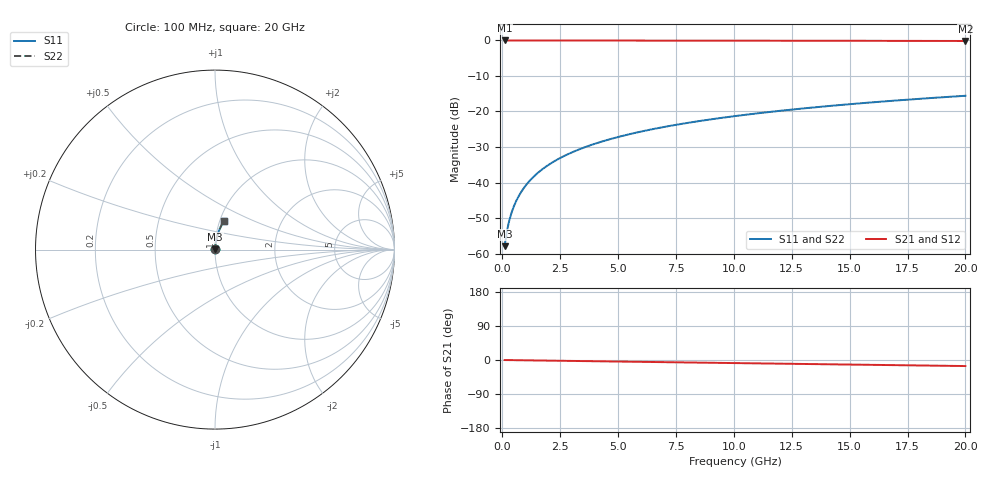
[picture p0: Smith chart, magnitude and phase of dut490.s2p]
! Touchstone file exported from HFSS 2026.1.0
!  File:  C:/ffzhzh/LocalFiles/Ansys_Project_Files/temp_train_BSMRDL_490_1783014000_53980.aedt
!  Generated:  01:41:21 AM Jul  3, 2026
!  Design:  BSMRDL
!  Project:  temp_train_BSMRDL_490_1783014000_53980
! Variables:
!  h_bsmrdl = 4.42um
!  h_ox = 20um
!  h_rdl = 5um
!  h_sub = 80um
!  h_tmrdl = 5um
!  h_tsv = 80um
!  h_via = 3um
!  l_bsmrdl = 189.47um
!  l_sub = 589.47um
!  l_tmrdl = 200um
!  m_sub = 200um
!  pitch = 52.53um
!  r_tsv = 6um
!  s_tmrdl = 10um
!  w_bsmrdl = 22.9um
!  w_sub = 500um
!  w_tmrdl = 12um
!  x_tsv_center1 = 206um
!  x_tsv_center2 = 418.37um
!  x_tsv_center3 = 630.37um
!  x_tsv_center4 = 842.74um
!  x_tsv_center5 = 1054.74um
!  x_tsv_center6 = 1267.11um
# GHz S MA R 50.000000
! Terminal data exported
! Port[1] = BSM_RDL1_1_T1
! Port[2] = BSM_RDL1_1_T2
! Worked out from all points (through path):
!   200 points, 100 MHz to 20 GHz, reference 50 ohm
!   highest |S21| = -0.01 dB at 100 MHz (marker M1); lowest = -0.2 dB at 20 GHz (marker M2)
!   group delay of S21, straight-line fit = 2.22 ps
!   lowest |S11| = -57.9 dB at 100 MHz (marker M3), VSWR 1.00, Z = 50.1 + j0.0954 ohm
!   |S11| at or under -10 dB: start of sweep to end of sweep
!   |S22| runs from -57.9 to -15.6 dB; largest |S21 - S12| = 4.3e-15
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0.1  0.001272 48.5  0.9992 -0.1  0.9992 -0.1  0.001272 48.5
! Gamma 0 0 0 0
! Port Impedance 50 0 50 0
0.2  0.002072 64.4  0.9991 -0.2  0.9991 -0.2  0.002072 64.4
0.3  0.002915 71.1  0.9991 -0.3  0.9991 -0.3  0.002915 71.1
0.4  0.003767 74.9  0.999 -0.3  0.999 -0.3  0.003767 74.9
0.5  0.004627 77.3  0.999 -0.4  0.999 -0.4  0.004627 77.3
0.7  0.006361 80.2  0.999 -0.6  0.999 -0.6  0.006362 80.2
0.8  0.007234 81.2  0.9989 -0.7  0.9989 -0.7  0.007234 81.2
1  0.008986 82.4  0.9989 -0.8  0.9989 -0.8  0.008986 82.4
1.2  0.01074 83.2  0.9989 -1.0  0.9989 -1.0  0.01074 83.2
1.4  0.0125 83.8  0.9988 -1.2  0.9988 -1.2  0.0125 83.8
1.7  0.01514 84.2  0.9987 -1.4  0.9987 -1.4  0.01514 84.2
2  0.01777 84.4  0.9986 -1.7  0.9986 -1.7  0.01777 84.4
2.7  0.02389 84.5  0.9984 -2.2  0.9984 -2.2  0.02389 84.5
3.5  0.03084 84.2  0.998 -2.9  0.998 -2.9  0.03084 84.2
4.2  0.03688 83.9  0.9976 -3.4  0.9976 -3.4  0.03688 83.9
5  0.04374 83.4  0.9971 -4.1  0.9971 -4.1  0.04374 83.4
6.8  0.05901 82.2  0.9959 -5.5  0.9959 -5.5  0.05901 82.2
8.3  0.0716 81.1  0.9948 -6.8  0.9948 -6.8  0.0716 81.1
10.1  0.08658 79.9  0.9933 -8.2  0.9933 -8.2  0.08658 79.9
13.4  0.1137 77.5  0.9901 -10.8  0.9901 -10.8  0.1137 77.5
16.7  0.1403 75.0  0.9863 -13.4  0.9863 -13.4  0.1403 75.0
20  0.1664 72.6  0.9819 -16.0  0.9819 -16.0  0.1664 72.6
